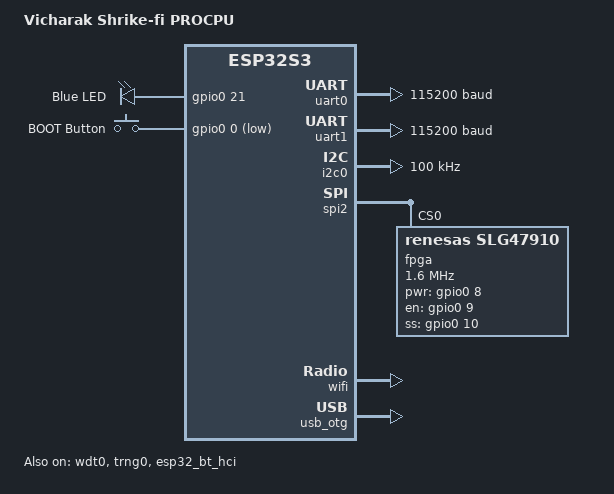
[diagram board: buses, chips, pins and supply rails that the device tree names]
/*
 * Copyright (c) 2026 Dhruv Menon <dhruvmenon1104@gmail.com>
 * SPDX-License-Identifier: Apache-2.0
 */
/dts-v1/;

#include <espressif/esp32s3/esp32s3_fn8.dtsi>
#include <zephyr/dt-bindings/input/input-event-codes.h>
#include <espressif/partitions_0x0_amp_8M.dtsi>
#include "shrike_fi-pinctrl.dtsi"

/ {
	model = "Vicharak Shrike-fi PROCPU";
	compatible = "vicharak,shrike-fi";

	aliases {
		led0 = &blue_led;
		i2c-0 = &i2c0;
		uart-0 = &uart0;
		sw0 = &button0;
		watchdog0 = &wdt0;
	};

	chosen {
		zephyr,sram = &sram1;
		zephyr,console = &uart0;
		zephyr,shell-uart = &uart0;
		zephyr,flash = &flash0;
		zephyr,code-partition = &slot0_partition;
		zephyr,bt-hci = &esp32_bt_hci;
	};

	leds {
		compatible = "gpio-leds";

		blue_led: blue_led {
			gpios = <&gpio0 21 GPIO_ACTIVE_HIGH>;
			label = "Blue LED";
		};
	};

	buttons {
		compatible = "gpio-keys";

		button0: button_0 {
			gpios = <&gpio0 0 (GPIO_PULL_UP | GPIO_ACTIVE_LOW)>;
			label = "BOOT Button";
			zephyr,code = <INPUT_KEY_0>;
		};
	};
};

&usb_serial {
	status = "disabled";
};

&uart0 {
	status = "okay";
	current-speed = <115200>;
	pinctrl-0 = <&uart0_default>;
	pinctrl-names = "default";
};

&uart1 {
	status = "okay";
	current-speed = <115200>;
	pinctrl-0 = <&uart1_default>;
	pinctrl-names = "default";
};

&gpio0 {
	status = "okay";
};

&gpio1 {
	status = "okay";
};

&i2c0 {
	clock-frequency = <I2C_BITRATE_STANDARD>;
	status = "okay";
	pinctrl-0 = <&i2c0_default>;
	pinctrl-names = "default";
};

&spi2 {
	#address-cells = <1>;
	#size-cells = <0>;
	status = "okay";
	pinctrl-0 = <&fpga_flash_default>;
	pinctrl-names = "default";

	fpga: fpga@0 {
		compatible = "renesas,slg47910";
		reg = <0>;
		spi-max-frequency = <1600000>;

		pwr-gpios = <&gpio0 8 GPIO_ACTIVE_HIGH>;
		en-gpios = <&gpio0 9 GPIO_ACTIVE_HIGH>;
		ss-gpios = <&gpio0 10 GPIO_ACTIVE_HIGH>;
	};
};

&wdt0 {
	status = "okay";
};

&trng0 {
	status = "okay";
};

&esp32_bt_hci {
	status = "okay";
};

&wifi {
	status = "okay";
};

zephyr_udc0: &usb_otg {
	status = "okay";
};
